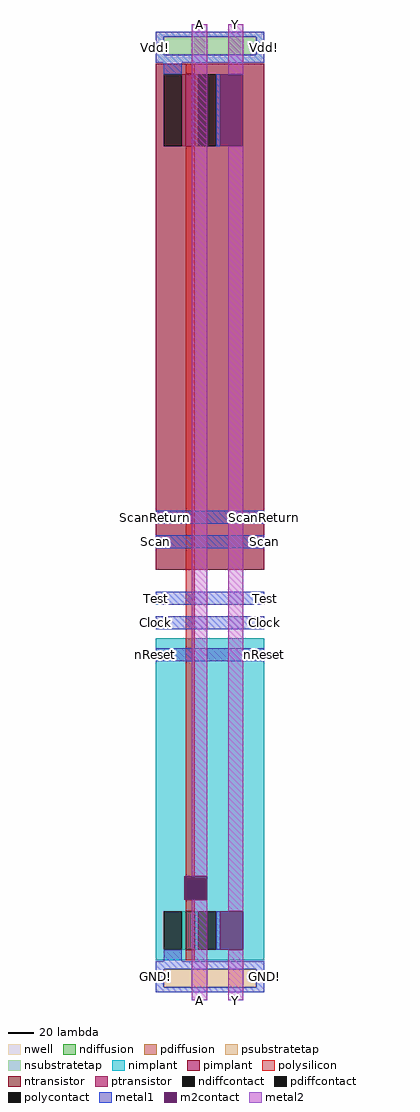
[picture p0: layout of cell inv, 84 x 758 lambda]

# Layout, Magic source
magic
tech c35b4
<< pimplant >>
rect 0 334 84 727
<< nimplant >>
rect 0 31 84 281
<< nwell >>
rect 0 334 84 752
<< polysilicon >>
rect 23 719 30 727
rect 23 94 30 663
rect 23 69 30 78
rect 23 31 30 39
<< ndiffusion >>
rect 20 39 23 69
rect 30 39 33 69
<< pdiffusion >>
rect 20 663 23 719
rect 30 663 33 719
<< ntransistor >>
rect 23 39 30 69
<< ptransistor >>
rect 23 663 30 719
<< polycontact >>
rect 23 78 39 94
<< ndiffcontact >>
rect 6 39 20 69
rect 33 39 47 69
<< pdiffcontact >>
rect 6 663 20 719
rect 33 663 47 719
<< psubstratetap >>
rect 6 10 78 24
<< nsubstratetap >>
rect 6 734 78 748
<< metal1 >>
rect 0 748 84 752
rect 0 734 6 748
rect 78 734 84 748
rect 0 728 84 734
rect 6 719 20 728
rect 47 663 50 719
rect 0 370 84 380
rect 0 351 84 361
rect 0 307 84 317
rect 0 288 84 298
rect 0 263 84 273
rect 47 39 50 69
rect 6 30 20 39
rect 0 24 84 30
rect 0 10 6 24
rect 78 10 84 24
rect 0 6 84 10
<< m2contact >>
rect 50 663 68 719
rect 22 94 40 96
rect 22 78 23 94
rect 23 78 39 94
rect 39 78 40 94
rect 50 39 68 69
<< metal2 >>
rect 28 96 40 758
rect 56 719 68 758
rect 28 0 40 78
rect 56 69 68 663
rect 56 0 68 39
<< labels >>
rlabel metal2 28 0 40 0 1 A
rlabel metal2 56 0 68 0 1 Y
rlabel metal1 0 6 0 30 3 GND!
rlabel metal1 84 6 84 30 7 GND!
rlabel metal1 0 728 0 752 3 Vdd!
rlabel metal2 56 758 68 758 5 Y
rlabel metal2 28 758 40 758 5 A
rlabel metal1 84 728 84 752 7 Vdd!
rlabel metal1 0 263 0 273 3 nReset
rlabel metal1 0 288 0 298 3 Clock
rlabel metal1 0 307 0 317 3 Test
rlabel metal1 0 351 0 361 3 Scan
rlabel metal1 0 370 0 380 3 ScanReturn
rlabel metal1 84 263 84 273 7 nReset
rlabel metal1 84 288 84 298 7 Clock
rlabel metal1 84 307 84 317 7 Test
rlabel metal1 84 351 84 361 7 Scan
rlabel metal1 84 370 84 380 7 ScanReturn
<< end >>
